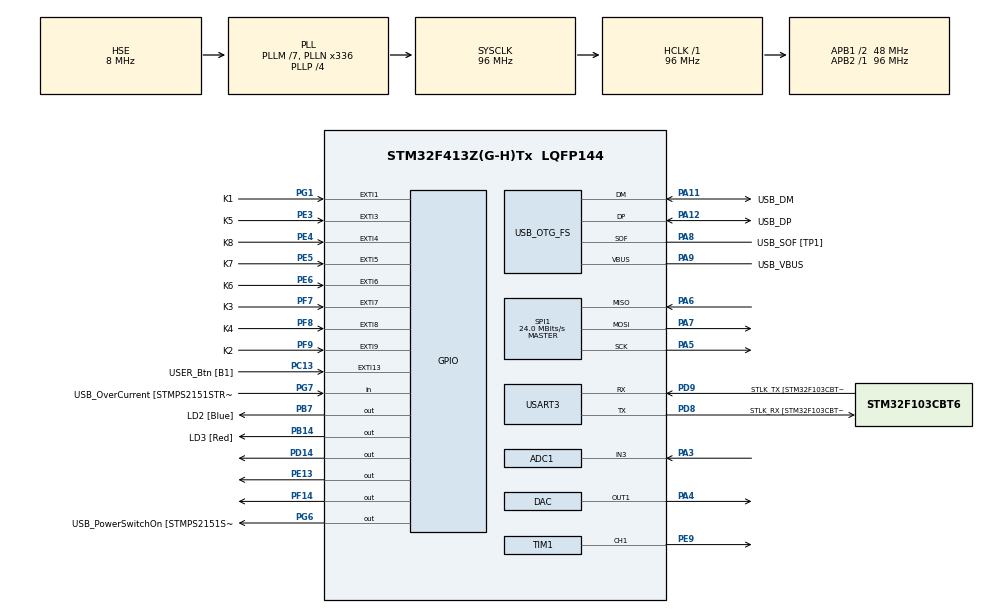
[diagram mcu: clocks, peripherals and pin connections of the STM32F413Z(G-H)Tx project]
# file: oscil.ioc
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ADC1.Channel-1\#ChannelRegularConversion=ADC_CHANNEL_3
ADC1.DMAContinuousRequests=ENABLE
ADC1.ExternalTrigConv=ADC_EXTERNALTRIGCONV_T3_TRGO
ADC1.NbrOfConversionFlag=1
ADC1.Rank-1\#ChannelRegularConversion=1
ADC1.SamplingTime-1\#ChannelRegularConversion=ADC_SAMPLETIME_3CYCLES
ADC1.master=1
DAC.DAC_Trigger=DAC_TRIGGER_T4_TRGO
Dma.ADC1.0.Direction=DMA_PERIPH_TO_MEMORY
Dma.ADC1.0.FIFOMode=DMA_FIFOMODE_DISABLE
Dma.ADC1.0.Instance=DMA2_Stream0
Dma.ADC1.0.MemDataAlignment=DMA_MDATAALIGN_HALFWORD
Dma.ADC1.0.MemInc=DMA_MINC_ENABLE
Dma.ADC1.0.Mode=DMA_CIRCULAR
Dma.ADC1.0.PeriphDataAlignment=DMA_PDATAALIGN_HALFWORD
Dma.ADC1.0.PeriphInc=DMA_PINC_DISABLE
Dma.ADC1.0.Priority=DMA_PRIORITY_HIGH
Dma.DAC1.1.Direction=DMA_MEMORY_TO_PERIPH
Dma.DAC1.1.FIFOMode=DMA_FIFOMODE_DISABLE
Dma.DAC1.1.Instance=DMA1_Stream5
Dma.DAC1.1.MemDataAlignment=DMA_MDATAALIGN_HALFWORD
Dma.DAC1.1.MemInc=DMA_MINC_ENABLE
Dma.DAC1.1.Mode=DMA_CIRCULAR
Dma.DAC1.1.PeriphDataAlignment=DMA_PDATAALIGN_HALFWORD
Dma.DAC1.1.PeriphInc=DMA_PINC_DISABLE
Dma.DAC1.1.Priority=DMA_PRIORITY_HIGH
Dma.Request0=ADC1
Dma.Request1=DAC1
Mcu.Family=STM32F4
Mcu.Name=STM32F413Z(G-H)Tx
Mcu.Package=LQFP144
NVIC.DMA1_Stream5_IRQn=true\:0\:0\:false\:false\:true\:false\:true\:true
NVIC.DMA2_Stream0_IRQn=true\:0\:0\:false\:false\:true\:false\:true\:true
NVIC.EXTI15_10_IRQn=true\:0\:0\:false\:false\:true\:true\:true\:true
NVIC.EXTI1_IRQn=true\:0\:0\:false\:false\:true\:true\:true\:true
NVIC.EXTI3_IRQn=true\:0\:0\:false\:false\:true\:true\:true\:true
NVIC.EXTI4_IRQn=true\:0\:0\:false\:false\:true\:true\:true\:true
NVIC.EXTI9_5_IRQn=true\:0\:0\:false\:false\:true\:true\:true\:true
NVIC.PriorityGroup=NVIC_PRIORITYGROUP_4
NVIC.USART3_IRQn=true\:0\:0\:false\:false\:true\:true\:true\:true
PA10.GPIO_Label=USB_ID
PA10.Signal=USB_OTG_FS_ID
PA11.GPIO_Label=USB_DM
PA11.Mode=Device_Only
PA11.Signal=USB_OTG_FS_DM
PA12.GPIO_Label=USB_DP
PA12.Mode=Device_Only
PA12.Signal=USB_OTG_FS_DP
PA13.GPIO_Label=TMS
PA13.Mode=Serial_Wire
PA13.Signal=SYS_JTMS-SWDIO
PA14.GPIO_Label=TCK
PA14.Mode=Serial_Wire
PA14.Signal=SYS_JTCK-SWCLK
PA2.Signal=S_TIM2_CH3
PA3.Signal=ADCx_IN3
PA4.Signal=COMP_DAC1_group
PA5.Mode=Full_Duplex_Master
PA5.Signal=SPI1_SCK
PA6.Mode=Full_Duplex_Master
PA6.Signal=SPI1_MISO
PA7.Mode=Full_Duplex_Master
PA7.Signal=SPI1_MOSI
PA8.GPIO_Label=USB_SOF [TP1]
PA8.Mode=Activate_SOF_FS
PA8.Signal=USB_OTG_FS_SOF
PA9.GPIO_Label=USB_VBUS
PA9.Mode=Activate_VBUS
PA9.Signal=USB_OTG_FS_VBUS
PB0.Signal=S_TIM3_CH3
PB14.GPIO_Label=LD3 [Red]
PB14.Signal=GPIO_Output
PB3.GPIO_Label=SWO
PB3.Signal=SYS_JTDO-SWO
PB7.GPIO_Label=LD2 [Blue]
PB7.Signal=GPIO_Output
PC13.GPIO_Label=USER_Btn [B1]
PC13.Signal=GPXTI13
PC14-OSC32_IN.Mode=LSE-External-Clock-Source
PC14-OSC32_IN.Signal=RCC_OSC32_IN
PC15-OSC32_OUT.Mode=LSE-External-Clock-Source
PC15-OSC32_OUT.Signal=RCC_OSC32_OUT
PD14.PinState=GPIO_PIN_SET
PD14.Signal=GPIO_Output
PD8.GPIO_Label=STLK_RX [STM32F103CBT6_PA3]
PD8.Mode=Asynchronous
PD8.Signal=USART3_TX
PD9.GPIO_Label=STLK_TX [STM32F103CBT6_PA2]
PD9.Mode=Asynchronous
PD9.Signal=USART3_RX
PE13.Signal=GPIO_Output
PE3.GPIO_Label=K5
PE3.GPIO_PuPd=GPIO_PULLDOWN
PE3.Signal=GPXTI3
PE4.GPIO_Label=K8
PE4.GPIO_PuPd=GPIO_PULLDOWN
PE4.Signal=GPXTI4
PE5.GPIO_Label=K7
PE5.GPIO_PuPd=GPIO_PULLDOWN
PE5.Signal=GPXTI5
PE6.GPIO_Label=K6
PE6.GPIO_PuPd=GPIO_PULLDOWN
PE6.Signal=GPXTI6
PE9.Signal=S_TIM1_CH1
PF14.Signal=GPIO_Output
PF7.GPIO_Label=K3
PF7.GPIO_PuPd=GPIO_PULLDOWN
PF7.Signal=GPXTI7
PF8.GPIO_Label=K4
PF8.GPIO_PuPd=GPIO_PULLDOWN
PF8.Signal=GPXTI8
PF9.GPIO_Label=K2
PF9.GPIO_PuPd=GPIO_PULLDOWN
PF9.Signal=GPXTI9
PG1.GPIO_Label=K1
PG1.GPIO_PuPd=GPIO_PULLDOWN
PG1.Signal=GPXTI1
PG6.GPIO_Label=USB_PowerSwitchOn [STMPS2151STR_EN]
PG6.Signal=GPIO_Output
PG7.GPIO_Label=USB_OverCurrent [STMPS2151STR_FAULT]
PG7.Signal=GPIO_Input
PH0\ -\ OSC_IN.GPIO_Label=MCO
PH0\ -\ OSC_IN.Mode=HSE-External-Oscillator
PH0\ -\ OSC_IN.Signal=RCC_OSC_IN
PH1\ -\ OSC_OUT.Mode=HSE-External-Oscillator
PH1\ -\ OSC_OUT.Signal=RCC_OSC_OUT
ProjectManager.HeapSize=0x200
ProjectManager.StackSize=0x400
ProjectManager.TargetToolchain=STM32CubeIDE
RCC.48MHZClocksFreq_Value=24000000
RCC.AHBFreq_Value=96000000.00000001
RCC.APB1CLKDivider=RCC_HCLK_DIV2
RCC.APB1Freq_Value=48000000.00000001
RCC.APB1TimFreq_Value=96000000.00000001
RCC.APB2Freq_Value=96000000.00000001
RCC.APB2TimFreq_Value=96000000.00000001
RCC.CortexFreq_Value=96000000.00000001
RCC.HCLKFreq_Value=96000000.00000001
RCC.HSE_VALUE=8000000
RCC.HSI_VALUE=16000000
RCC.PLLM=7
RCC.PLLMUL=RCC_PLL_MUL9
RCC.PLLN=336
RCC.PLLP=RCC_PLLP_DIV4
RCC.PLLQ=8
RCC.PRESCALERUSB=RCC_USBCLKSOURCE_PLL_DIV1_5
RCC.SYSCLKFreq_VALUE=96000000.00000001
RCC.SYSCLKSource=RCC_SYSCLKSOURCE_PLLCLK
RCC.SYSCLKSourceVirtual=RCC_SYSCLKSOURCE_PLLCLK
RCC.USBFreq_Value=48000000.00000001
RCC.VCOOutputFreq_Value=384000000.00000006
SH.ADCx_IN3.0=ADC1_IN3,IN3
SH.COMP_DAC1_group.0=DAC_OUT1,DAC_OUT1
SH.S_TIM1_CH1.0=TIM1_CH1,PWM Generation1 CH1
SH.S_TIM2_CH3.0=TIM2_CH3
SH.S_TIM3_CH3.0=TIM3_CH3
SPI1.BaudRatePrescaler=SPI_BAUDRATEPRESCALER_4
SPI1.CalculateBaudRate=24.0 MBits/s
SPI1.Direction=SPI_DIRECTION_2LINES
SPI1.Mode=SPI_MODE_MASTER
SPI1.VirtualType=VM_MASTER
TIM1.Channel-PWM\ Generation1\ CH1=TIM_CHANNEL_1
TIM1.Period=999
TIM1.Prescaler=95
TIM1.Pulse-PWM\ Generation1\ CH1=500
TIM3.Period=24
TIM3.Prescaler=47
TIM3.TIM_MasterOutputTrigger=TIM_TRGO_UPDATE
TIM4.AutoReloadPreload=TIM_AUTORELOAD_PRELOAD_DISABLE
TIM4.Period=1499
TIM4.TIM_MasterOutputTrigger=TIM_TRGO_UPDATE
TIM4.TIM_MasterSlaveMode=TIM_MASTERSLAVEMODE_DISABLE
USART3.VirtualMode=VM_ASYNC
USB_OTG_FS.VirtualMode=Device_Only
VP_TIM1_VS_ClockSourceINT.Mode=Internal
VP_TIM3_VS_ClockSourceINT.Mode=Internal
VP_TIM4_VS_ClockSourceINT.Mode=Internal
board=NUCLEO-F413ZH

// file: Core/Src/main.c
/* USER CODE BEGIN Header */
/**
  ******************************************************************************
  * @file           : main.c
  * @brief          : Main program body
  ******************************************************************************
  * @attention
  *
  * Copyright (c) 2025 STMicroelectronics.
  * All rights reserved.
  *
  * This software is licensed under terms that can be found in the LICENSE file
  * in the root directory of this software component.
  * If no LICENSE file comes with this software, it is provided AS-IS.
  *
  ******************************************************************************
  */
/* USER CODE END Header */
#include "main.h"
#include "adc.h"
#include "dac.h"
#include "dma.h"
#include "spi.h"
#include "tim.h"
#include "usart.h"
#include "usb_otg.h"
#include "gpio.h"

/* USER CODE BEGIN Includes */
#include <string.h>
#include "scope.h"
#include "scope_buffer.h"
#include "input_handler.h"
#include "waveform_control.h"
#include "uart_command.h"
/* USER CODE END Includes */

/* USER CODE BEGIN PV */
static uint16_t scope_frame_copy[SCOPE_FRAME_SAMPLES];
/* USER CODE END PV */

void SystemClock_Config(void);

/* USER CODE BEGIN 0 */
void HAL_ADC_ConvCpltCallback(ADC_HandleTypeDef *hadc)
{
    if (hadc->Instance == ADC1)
    {
        ScopeBuffer_EnqueueFromISR(1U);
    }
}

void HAL_ADC_ConvHalfCpltCallback(ADC_HandleTypeDef *hadc)
{
    if (hadc->Instance == ADC1)
    {
        ScopeBuffer_EnqueueFromISR(0U);
    }
}
/* USER CODE END 0 */

int main(void)
{

  /* MCU Configuration--------------------------------------------------------*/

  /* Reset of all peripherals, Initializes the Flash interface and the Systick. */
  HAL_Init();

  /* Configure the system clock */
  SystemClock_Config();

  /* Initialize all configured peripherals */
  MX_GPIO_Init();
  MX_DMA_Init();
  MX_USART3_UART_Init();
  MX_USB_OTG_FS_PCD_Init();
  MX_ADC1_Init();
  MX_TIM3_Init();
  MX_SPI1_Init();
  MX_TIM1_Init();
  MX_DAC_Init();
  MX_TIM4_Init();
  /* USER CODE BEGIN 2 */
  ScopeBuffer_Init();
  InputHandler_Init();
  Scope_Init();
  WaveformControl_Init();
  UartCommand_Init();
  const uint16_t frame_samples = Scope_FrameSampleCount();
  const uint32_t dma_samples = (uint32_t)frame_samples * 2U;
  HAL_ADC_Start_DMA(&hadc1, (uint32_t *)ScopeBuffer_GetDmaBaseAddress(), dma_samples);
  HAL_TIM_Base_Start(&htim3);
  /* USER CODE END 2 */

  /* Infinite loop */
  /* USER CODE BEGIN WHILE */
  while (1)
  {
      if (ScopeBuffer_HasPending())
      {
          uint16_t samples_count = 0U;
          uint16_t *ready_buf = ScopeBuffer_Dequeue(&samples_count);
          if (ready_buf != NULL)
          {
              uint16_t samples_to_process = samples_count;
              if (samples_to_process > SCOPE_FRAME_SAMPLES)
              {
                  samples_to_process = SCOPE_FRAME_SAMPLES;
              }
              memcpy(scope_frame_copy,
                     ready_buf,
                     (size_t)samples_to_process * sizeof(uint16_t));
              Scope_ProcessFrame(scope_frame_copy, samples_to_process);
          }
      }
      UartCommand_Process();
    /* USER CODE END WHILE */

  }
}

void SystemClock_Config(void)
{
  RCC_OscInitTypeDef RCC_OscInitStruct = {0};
  RCC_ClkInitTypeDef RCC_ClkInitStruct = {0};

  /** Configure the main internal regulator output voltage
  */
  __HAL_RCC_PWR_CLK_ENABLE();
  __HAL_PWR_VOLTAGESCALING_CONFIG(PWR_REGULATOR_VOLTAGE_SCALE1);

  /** Initializes the RCC Oscillators according to the specified parameters
  * in the RCC_OscInitTypeDef structure.
  */
  RCC_OscInitStruct.OscillatorType = RCC_OSCILLATORTYPE_HSE;
  RCC_OscInitStruct.HSEState = RCC_HSE_ON;
  RCC_OscInitStruct.PLL.PLLState = RCC_PLL_ON;
  RCC_OscInitStruct.PLL.PLLSource = RCC_PLLSOURCE_HSE;
  RCC_OscInitStruct.PLL.PLLM = 7;
  RCC_OscInitStruct.PLL.PLLN = 336;
  RCC_OscInitStruct.PLL.PLLP = RCC_PLLP_DIV4;
  RCC_OscInitStruct.PLL.PLLQ = 8;
  RCC_OscInitStruct.PLL.PLLR = 2;
  if (HAL_RCC_OscConfig(&RCC_OscInitStruct) != HAL_OK)
  {
    Error_Handler();
  }

  /** Initializes the CPU, AHB and APB buses clocks
  */
  RCC_ClkInitStruct.ClockType = RCC_CLOCKTYPE_HCLK|RCC_CLOCKTYPE_SYSCLK
                              |RCC_CLOCKTYPE_PCLK1|RCC_CLOCKTYPE_PCLK2;
  RCC_ClkInitStruct.SYSCLKSource = RCC_SYSCLKSOURCE_PLLCLK;
  RCC_ClkInitStruct.AHBCLKDivider = RCC_SYSCLK_DIV1;
  RCC_ClkInitStruct.APB1CLKDivider = RCC_HCLK_DIV2;
  RCC_ClkInitStruct.APB2CLKDivider = RCC_HCLK_DIV1;

  if (HAL_RCC_ClockConfig(&RCC_ClkInitStruct, FLASH_LATENCY_3) != HAL_OK)
  {
    Error_Handler();
  }
}

/* USER CODE BEGIN 4 */
void HAL_GPIO_EXTI_Callback(uint16_t GPIO_Pin)
{
    InputHandler_ProcessGpioInterrupt(GPIO_Pin);
}
/* USER CODE END 4 */

void Error_Handler(void)
{
  __disable_irq();
  while (1)
  {
  }
}
